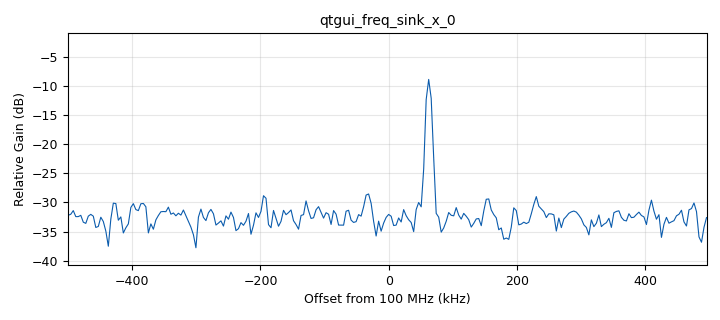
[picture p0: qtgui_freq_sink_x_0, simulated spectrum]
<?xml version='1.0' encoding='utf-8'?>
<?grc format='1' created='3.7.12'?>
<flow_graph>
<block>
<key>options</key>
<param><key>id</key><value>top_block</value></param>
<param><key>generate_options</key><value>qt_gui</value></param>
</block>
<block>
<key>variable</key>
<param><key>id</key><value>fftsize</value></param>
<param><key>value</key><value>2**8</value></param>
</block>
<block>
<key>variable</key>
<param><key>id</key><value>freq</value></param>
<param><key>value</key><value>100e6</value></param>
</block>
<block>
<key>variable</key>
<param><key>id</key><value>samp_rate</value></param>
<param><key>value</key><value>int(1e6)</value></param>
</block>
<block>
<key>analog_fastnoise_source_x</key>
<param><key>id</key><value>analog_fastnoise_source_x_0</value></param>
<param><key>amp</key><value>1</value></param>
<param><key>noise_type</key><value>analog.GR_GAUSSIAN</value></param>
<param><key>type</key><value>complex</value></param>
<param><key>seed</key><value>0</value></param>
<param><key>samples</key><value>8192</value></param>
</block>
<block>
<key>analog_sig_source_x</key>
<param><key>id</key><value>analog_sig_source_x_0</value></param>
<param><key>amp</key><value>1</value></param>
<param><key>freq</key><value>samp_rate/16</value></param>
<param><key>offset</key><value>0</value></param>
<param><key>type</key><value>complex</value></param>
<param><key>samp_rate</key><value>samp_rate</value></param>
<param><key>waveform</key><value>analog.GR_COS_WAVE</value></param>
</block>
<block>
<key>blocks_add_xx</key>
<param><key>id</key><value>blocks_add_xx_0</value></param>
<param><key>type</key><value>complex</value></param>
</block>
<block>
<key>import</key>
<param><key>id</key><value>import_0</value></param>
<param><key>import</key><value>from numpy.fft import fftshift, fftfreq</value></param>
</block>
<block>
<key>logpwrfft_x</key>
<param><key>id</key><value>logpwrfft_x_0</value></param>
<param><key>avg_alpha</key><value>1.0</value></param>
<param><key>average</key><value>False</value></param>
<param><key>fft_size</key><value>fftsize</value></param>
<param><key>frame_rate</key><value>30</value></param>
<param><key>type</key><value>complex</value></param>
<param><key>ref_scale</key><value>2</value></param>
<param><key>sample_rate</key><value>samp_rate</value></param>
</block>
<block>
<key>qtgui_freq_sink_x</key>
<param><key>id</key><value>qtgui_freq_sink_x_0</value></param>
<param><key>autoscale</key><value>True</value></param>
<param><key>average</key><value>0.1</value></param>
<param><key>bw</key><value>samp_rate</value></param>
<param><key>fc</key><value>freq</value></param>
<param><key>fftsize</key><value>fftsize</value></param>
<param><key>grid</key><value>True</value></param>
<param><key>showports</key><value>True</value></param>
<param><key>type</key><value>complex</value></param>
<param><key>wintype</key><value>firdes.WIN_BLACKMAN_hARRIS</value></param>
</block>
<block>
<key>speclog_csvSink</key>
<param><key>id</key><value>speclog_csvSink_0</value></param>
<param><key>append</key><value>False</value></param>
<param><key>file</key><value>test.csv</value></param>
<param><key>type</key><value>float</value></param>
<param><key>labels</key><value>fftshift(fftfreq(fftsize)*samp_rate+freq)</value></param>
<param><key>unbuffered</key><value>False</value></param>
<param><key>vlen</key><value>fftsize</value></param>
</block>
<connection><source_block_id>analog_fastnoise_source_x_0</source_block_id><sink_block_id>blocks_add_xx_0</sink_block_id><source_key>0</source_key><sink_key>0</sink_key></connection>
<connection><source_block_id>analog_sig_source_x_0</source_block_id><sink_block_id>blocks_add_xx_0</sink_block_id><source_key>0</source_key><sink_key>1</sink_key></connection>
<connection><source_block_id>blocks_add_xx_0</source_block_id><sink_block_id>logpwrfft_x_0</sink_block_id><source_key>0</source_key><sink_key>0</sink_key></connection>
<connection><source_block_id>blocks_add_xx_0</source_block_id><sink_block_id>qtgui_freq_sink_x_0</sink_block_id><source_key>0</source_key><sink_key>0</sink_key></connection>
<connection><source_block_id>logpwrfft_x_0</source_block_id><sink_block_id>speclog_csvSink_0</sink_block_id><source_key>0</source_key><sink_key>0</sink_key></connection>
</flow_graph>
